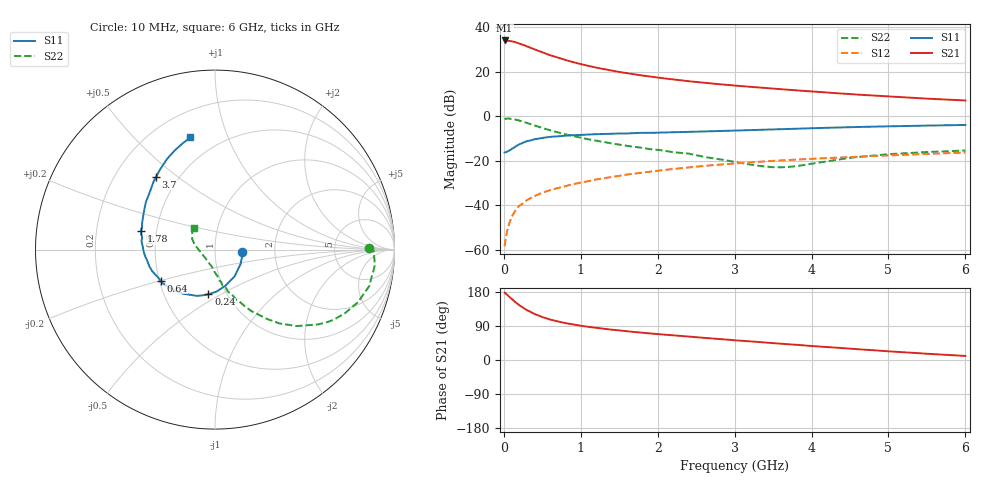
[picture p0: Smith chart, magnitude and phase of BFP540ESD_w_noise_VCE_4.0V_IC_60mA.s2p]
! Infineon Technologies  Discrete & RF Semiconductors
! BFP540ESD
! VCE =  4.0 V,  IC =  60 mA
! Common Emitter S-Parameters:  Nov 2015
# GHz  S  MA  R  50
!  f  S11  S21  S12  S22
! GHz  MAG  ANG  MAG  ANG  MAG  ANG  MAG  ANG
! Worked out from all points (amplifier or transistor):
!   210 points, 10 MHz to 6 GHz, reference 50 ohm
!   highest |S21| = 34.1 dB at 10 MHz (marker M1)
!   |S21| within 3 dB of that: start of sweep to 326.2 MHz
!   unconditionally stable (mu >= 1): start of sweep to 33.86 MHz; 1.37 GHz to end of sweep
!   at 185 MHz: K = 0.43, MSG = 36.9 dB, |S12| = -40.8 dB
!   at 1.52 GHz: K = 1.02, MAG = 22.4 dB, |S12| = -26.7 dB
!   at 6 GHz: K = 1.10, MAG = 9.8 dB, |S12| = -16.3 dB
!   lowest NFmin = 2.01 dB at 900 MHz
!   S11 on the Smith chart (normalised r, x): 10 MHz: 1.36, -0.04; 240 MHz: 0.82, -0.44; 640 MHz: 0.51, -0.20; 1.78 GHz: 0.41, +0.10; 3.7 GHz: 0.38, +0.42; 6 GHz: 0.35, +0.74
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0.01  0.1535 -5.0  50.94 177.7  0.0012 104.6  0.8556 0.6
0.02  0.1556 -12.4  50.1 176.4  0.0016 73.6  0.8832 -0.3
0.05  0.1636 -29.4  50.35 170.5  0.0029 79.4  0.8953 -5.5
0.1  0.185 -53.9  48.95 161.3  0.0053 78.5  0.883 -13.3
0.15  0.2094 -73.8  46.6 152.7  0.0076 77.8  0.8487 -20.2
0.2  0.2347 -88.3  43.72 144.7  0.0097 74.9  0.8047 -26.3
0.24  0.2513 -98.4  41.2 139.2  0.0107 73.3  0.7674 -30.6
0.3  0.2763 -110.9  37.63 131.5  0.013 70.6  0.7093 -36.0
0.4  0.3057 -126.8  32.04 121.2  0.0161 68.3  0.6222 -43.2
0.5  0.3276 -138.8  27.57 113.2  0.0191 66.5  0.5458 -48.9
0.6  0.3471 -147.4  23.8 106.8  0.0219 68.4  0.4852 -53.0
0.64  0.3493 -150.3  22.63 104.9  0.0229 67.7  0.4653 -54.2
0.8  0.3694 -160.7  18.49 97.3  0.0269 66.7  0.3937 -59.7
1.02  0.383 -171.0  14.68 89.8  0.0329 65.7  0.3241 -64.6
1.4  0.4066 175.8  10.71 80.1  0.0432 65.2  0.2459 -72.8
1.78  0.4253 166.0  8.383 72.4  0.0538 62.6  0.1983 -78.7
2.02  0.4314 160.5  7.369 68.0  0.0603 60.7  0.1751 -81.6
3.1  0.4835 138.9  4.768 50.7  0.0895 51.4  0.0882 -106.9
3.7  0.5219 128.9  3.959 41.6  0.1041 45.5  0.0727 -152.2
4.1  0.5466 123.1  3.527 35.6  0.1129 41.7  0.0913 -179.7
5.1  0.6012 110.9  2.742 21.7  0.1342 32.2  0.1438 152.4
6  0.64 102.4  2.274 10.7  0.1529 24.9  0.1705 133.8
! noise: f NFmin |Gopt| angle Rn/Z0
0.9  2.01  0.53  -140  0.17
1.8  2.16  0.55  -142  0.17
2.4  2.22  0.56  -131  0.22
3  2.36  0.58  -122  0.31
4  2.43  0.64  -102  0.57
5  2.56  0.7  -86  0.85
6  3.02  0.65  -82  1.34
